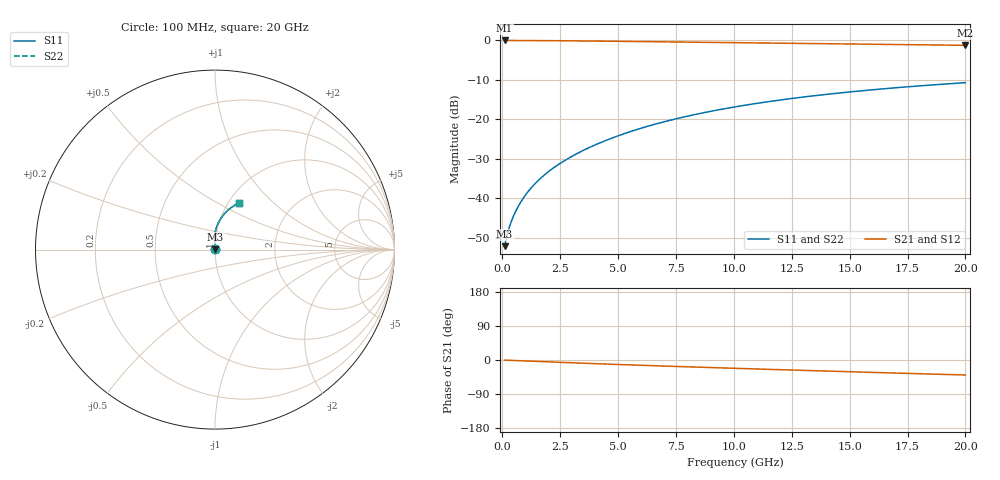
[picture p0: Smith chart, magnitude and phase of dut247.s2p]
! Touchstone file exported from HFSS 2024.1.0
!  File:  C:/UserFiles/LocalFiles/RDL_TSV_Batchsim/temp_RDL_bottom_247_1778701576.aedt
!  Generated:  03:48:30 AM May 14, 2026
!  Design:  RDL_bottom
!  Project:  temp_RDL_bottom_247_1778701576
!  Setup:  Setup1
!  Solution:  Sweep
! Variables:
!  dtsv = 10.80580581um
!  hbump = 3um
!  htsv = 53.54um
!  ldown = 620.39um
!  lrdl = 100um
!  p = 40
!  p1 = 48.49um
!  rhole = 1um
!  t = 450um
!  tdown = 4.18um
!  trdl = 3.915915916um
!  wdown = 28.17um
!  wrdl = 20um
# GHz S MA R 50.000000
! Terminal data exported
! Port[1] = RDL1_T1
! Port[2] = RDL1_T2
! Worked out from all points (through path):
!   200 points, 100 MHz to 20 GHz, reference 50 ohm
!   highest |S21| = -0.02 dB at 100 MHz (marker M1); lowest = -1.3 dB at 20 GHz (marker M2)
!   group delay of S21, straight-line fit = 5.41 ps
!   lowest |S11| = -52.1 dB at 100 MHz (marker M3), VSWR 1.00, Z = 50.2 + j0.132 ohm
!   |S11| at or under -10 dB: start of sweep to end of sweep
!   |S22| runs from -52.1 to -10.7 dB; largest |S21 - S12| = 2.5e-15
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0.1  0.002485 31.8  0.9979 -0.3  0.9979 -0.3  0.002485 31.8
! Gamma 0 0 0 0
! Port Impedance 50 0 50 0
0.2  0.003372 47.3  0.9976 -0.5  0.9976 -0.5  0.003372 47.3
0.3  0.004289 55.6  0.9974 -0.8  0.9974 -0.8  0.004289 55.6
0.4  0.005201 61.3  0.9972 -1.0  0.9972 -1.0  0.0052 61.3
0.5  0.006122 65.6  0.997 -1.3  0.997 -1.3  0.006121 65.6
0.6  0.007063 69.0  0.9968 -1.5  0.9968 -1.5  0.007062 69.1
0.8  0.009004 74.2  0.9964 -2.0  0.9964 -2.0  0.009003 74.2
1  0.01101 77.8  0.996 -2.5  0.996 -2.5  0.01101 77.8
1.2  0.01308 80.5  0.9954 -3.0  0.9954 -3.0  0.01308 80.5
1.7  0.01848 85.0  0.9937 -4.2  0.9937 -4.2  0.01848 85.0
2.2  0.02418 87.8  0.9915 -5.4  0.9915 -5.4  0.02419 87.8
2.8  0.03145 89.9  0.9882 -6.9  0.9882 -6.9  0.03146 89.9
3.5  0.04053 91.3  0.9839 -8.5  0.9839 -8.5  0.04054 91.3
4.2  0.05021 91.9  0.979 -10.1  0.979 -10.1  0.05023 91.9
5  0.06194 91.8  0.973 -11.8  0.973 -11.8  0.06196 91.8
6.8  0.09023 89.9  0.9589 -15.6  0.9589 -15.6  0.09028 90.0
8.4  0.1166 87.1  0.9465 -18.8  0.9465 -18.8  0.1167 87.1
10.1  0.1448 83.6  0.9337 -22.1  0.9337 -22.1  0.1449 83.6
11.7  0.171 80.1  0.922 -25.1  0.922 -25.1  0.1711 80.1
13.4  0.1981 76.4  0.9101 -28.2  0.9101 -28.2  0.1982 76.4
16.7  0.2473 69.4  0.8876 -34.0  0.8876 -34.0  0.2475 69.4
20  0.2916 62.8  0.8657 -39.6  0.8657 -39.6  0.2918 62.8
